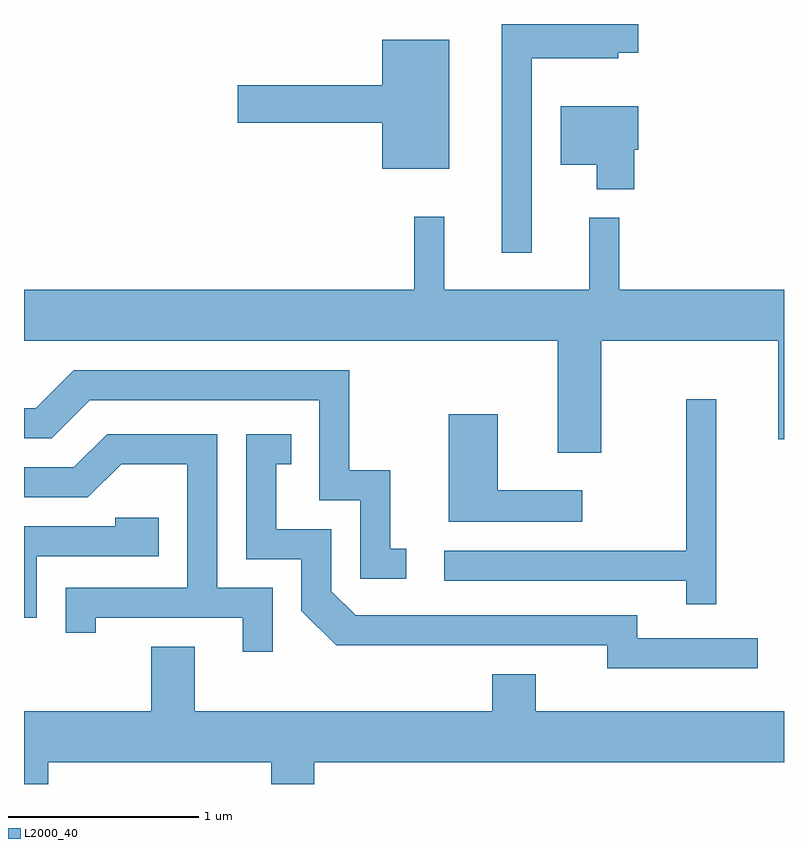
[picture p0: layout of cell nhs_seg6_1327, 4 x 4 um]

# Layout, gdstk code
import gdstk
lib = gdstk.Library(unit=1e-6, precision=1e-09)
def P(c, l, *ps):  # polygons
    for p in ps: c.add(gdstk.Polygon(p, *l))
L2000_40 = (2000, 40)

nhs_seg6_1327 = lib.new_cell('nhs_seg6_1327')
P(nhs_seg6_1327, L2000_40, [(228.284,1535.981),(228.739,1535.981),(228.739,1536.011),(228.844,1536.011),(228.844,1536.162),(228.126,1536.162),(228.126,1534.958),(228.284,1534.958)],
  [(227.849,1536.079),(227.496,1536.079),(227.496,1535.839),(226.736,1535.839),(226.736,1535.641),(227.496,1535.641),(227.496,1535.401),(227.849,1535.401)],
  [(228.824,1535.501),(228.844,1535.501),(228.844,1535.729),(228.436,1535.729),(228.436,1535.421),(228.626,1535.421),(228.626,1535.291),(228.824,1535.291)],
  [(228.649,1534.496),(229.581,1534.496),(229.581,1533.976),(229.611,1533.976),(229.611,1534.764),(228.744,1534.764),(228.744,1535.143),(228.586,1535.143),(228.586,1534.764),(227.824,1534.764),(227.824,1535.148),(227.666,1535.148),(227.666,1534.764),(225.611,1534.764),(225.611,1534.496),(228.421,1534.496),(228.421,1533.906),(228.649,1533.906)],
  [(227.623,1533.399),(227.539,1533.399),(227.539,1533.814),(227.324,1533.814),(227.324,1534.339),(225.874,1534.339),(225.674,1534.139),(225.611,1534.139),(225.611,1533.981),(225.757,1533.981),(225.957,1534.181),(227.166,1534.181),(227.166,1533.656),(227.381,1533.656),(227.381,1533.241),(227.623,1533.241)],
  [(229.254,1534.188),(229.096,1534.188),(229.096,1533.389),(227.823,1533.389),(227.823,1533.231),(229.096,1533.231),(229.096,1533.108),(229.254,1533.108)],
  [(228.548,1533.709),(228.104,1533.709),(228.104,1534.109),(227.846,1534.109),(227.846,1533.541),(228.548,1533.541)],
  [(226.919,1533.194),(226.629,1533.194),(226.629,1534.004),(226.049,1534.004),(225.874,1533.829),(225.611,1533.829),(225.611,1533.671),(225.947,1533.671),(226.122,1533.846),(226.471,1533.846),(226.471,1533.194),(225.831,1533.194),(225.831,1532.958),(225.989,1532.958),(225.989,1533.036),(226.761,1533.036),(226.761,1532.858),(226.919,1532.858)],
  [(229.473,1532.929),(228.839,1532.929),(228.839,1533.049),(227.357,1533.049),(227.229,1533.177),(227.229,1533.504),(226.939,1533.504),(226.939,1533.846),(227.018,1533.846),(227.018,1534.004),(226.781,1534.004),(226.781,1533.346),(227.071,1533.346),(227.071,1533.074),(227.254,1532.891),(228.681,1532.891),(228.681,1532.771),(229.473,1532.771)],
  [(225.679,1533.361),(226.319,1533.361),(226.319,1533.564),(226.091,1533.564),(226.091,1533.519),(225.611,1533.519),(225.611,1533.036),(225.679,1533.036)],
  [(225.739,1532.276),(226.911,1532.276),(226.911,1532.162),(227.139,1532.162),(227.139,1532.276),(229.611,1532.276),(229.611,1532.544),(228.304,1532.544),(228.304,1532.739),(228.076,1532.739),(228.076,1532.544),(226.509,1532.544),(226.509,1532.884),(226.281,1532.884),(226.281,1532.544),(225.611,1532.544),(225.611,1532.162),(225.739,1532.162)])

lib.write_gds('nhs_seg6_1327.gds')
